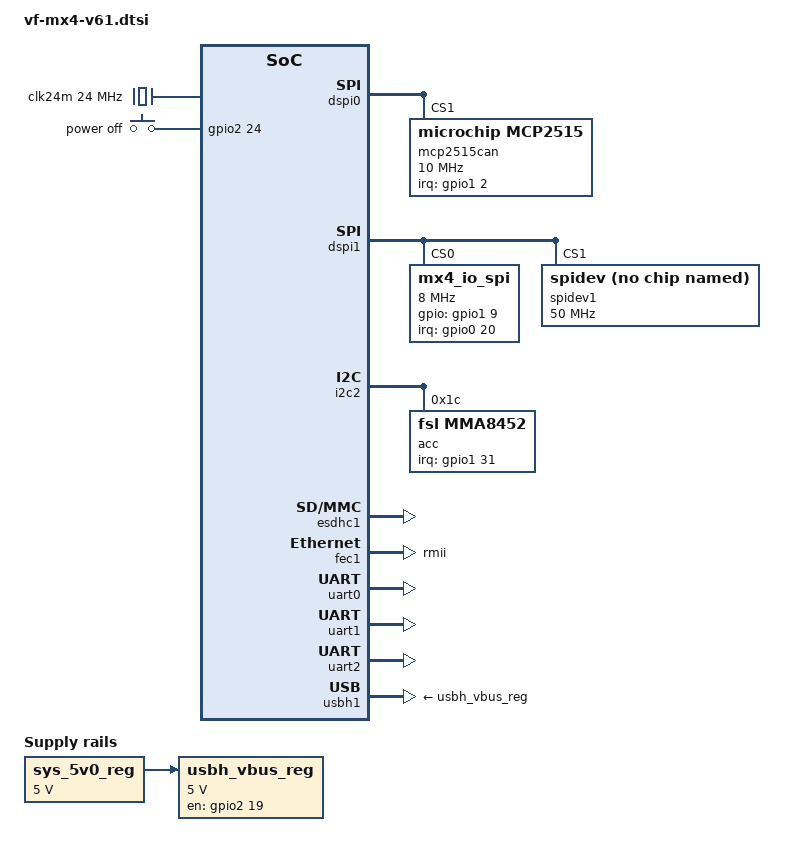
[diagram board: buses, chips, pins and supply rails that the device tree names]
/*
 * Copyright 2015 Host Mobility AB
 *
 * This program is free software; you can redistribute it and/or modify
 * it under the terms of the GNU General Public License as published by
 * the Free Software Foundation; either version 2 of the License, or
 * (at your option) any later version.
 */

#include <dt-bindings/input/input.h>

/ {
	chosen {
		bootargs = "console=ttyLP0,115200";
	};

	clk24m: clk24m {
		compatible = "fixed-clock";
		#clock-cells = <0>;
		clock-frequency = <24000000>;
	};

	regulators {
		compatible = "simple-bus";
		#address-cells = <1>;
		#size-cells = <0>;

		sys_5v0_reg: regulator@0 {
			compatible = "regulator-fixed";
			reg = <0>;
			regulator-name = "5v0";
			regulator-min-microvolt = <5000000>;
			regulator-max-microvolt = <5000000>;
			regulator-always-on;
		};

		/* USBH_PEN */
		usbh_vbus_reg: regulator@1 {
			compatible = "regulator-fixed";
			pinctrl-names = "default";
			pinctrl-0 = <&pinctrl_usbh1_reg>;
			reg = <1>;
			gpio = <&gpio2 19 0>;
			enable-active-high;
			regulator-name = "usbh_vbus";
			regulator-min-microvolt = <5000000>;
			regulator-max-microvolt = <5000000>;
			vin-supply = <&sys_5v0_reg>;

			regulator-state-mem {
				regulator-on-in-suspend;
			};
		};
	};

	gpio-keys {
		compatible = "gpio-keys";
		pinctrl-names = "default";
		pinctrl-0 = <&pinctrl_gpiokeys>;

		power {
			label = "power off";
			gpios = <&gpio2 24 GPIO_ACTIVE_HIGH>;
			linux,code = <KEY_POWER>;
			debounce-interval = <10>;
		};
	};
};

&dspi0 {
	status = "okay";

	mcp2515can: can@1 {
		compatible = "microchip,mcp2515";
		pinctrl-names = "default";
		pinctrl-0 = <&pinctrl_can_int>;
		reg = <1>;
		clocks = <&clk24m>;
		spi-max-frequency = <10000000>;
		interrupt-parent = <&gpio1>;
		interrupts = <2 GPIO_ACTIVE_LOW>;
	};
};

&dspi1 {
	status = "okay";

    mx4_io_spi: dspi@0 {
       	compatible = "mx4_io_spi";
       	reg = <0>;
       	spi-max-frequency = <8000000>;
       	pinctrl-names = "default";
		pinctrl-0 = <&pinctrl_mx4_io_int>;
		interrupt-parent = <&gpio0>;
       	interrupts = <20 IRQ_TYPE_EDGE_RISING>;
       	gpios = <&gpio1 9 IRQ_TYPE_EDGE_RISING>;
       	spi-cpha;
   };

    spidev1: dspi@1 {
        compatible = "spidev";
        reg = <1>;
        spi-max-frequency = <50000000>;
    };
};

&i2c2 {
	status = "okay";

    acc: mma8452q@1c {
    	compatible = "fsl,mma8452";
    	reg = <0x1c>;
    	pinctrl-names = "default";
		pinctrl-0 = <&pinctrl_acc>;
        interrupt-parent = <&gpio1>;
        interrupts = <31 IRQ_TYPE_EDGE_FALLING>;
    };
};


&esdhc1 {
	status = "okay";
};

&fec1 {
	phy-mode = "rmii";
	pinctrl-names = "default";
	pinctrl-0 = <&pinctrl_fec1>;
	status = "okay";
};

&uart0 {
	status = "okay";
};

&uart1 {
	status = "okay";
};

&uart2 {
	status = "okay";
};

&usbh1 {
	vbus-supply = <&usbh_vbus_reg>;
};

 &iomuxc {
 	vf610-colibri {
 		pinctrl_gpiokeys: gpiokeys {
 			fsl,pins = <
				VF610_PAD_PTD9__GPIO_88		0x0001
			>;
 		};
		pinctrl_can_int: can_int {
			fsl,pins = <
				VF610_PAD_PTB12__GPIO_34	0x22ed
			>;
		};

        pinctrl_acc: acc_int1 {
            fsl,pins = <
                VF610_PAD_PTD31__GPIO_63    0x219d
            >;
      	};

		pinctrl_mx4_io_int: mx4_io_int {
            fsl,pins = <
                VF610_PAD_PTA30__GPIO_20	0x0009
                VF610_PAD_PTB19__GPIO_41	0x0009
            >;
        };
 	};
 };
